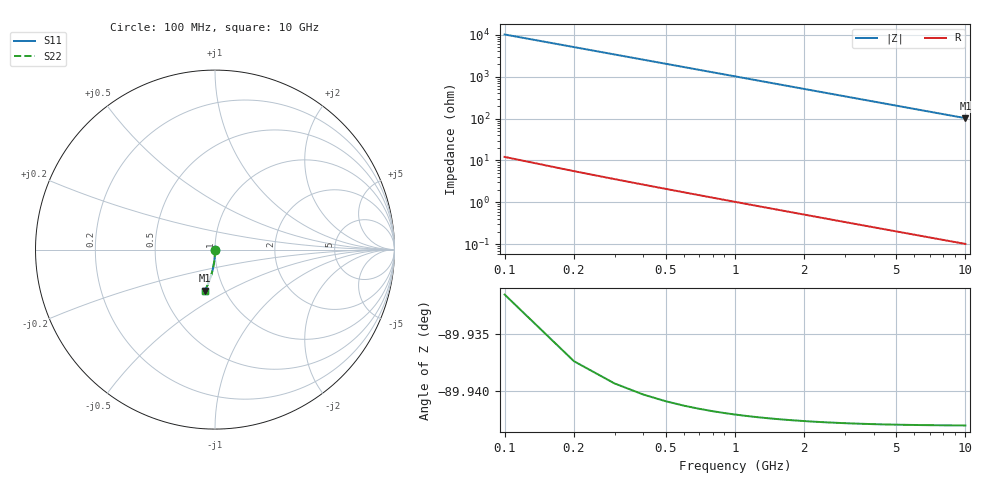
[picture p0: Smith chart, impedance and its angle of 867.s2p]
# Hz S RI R 50.00
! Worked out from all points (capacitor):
!   100 points, 100 MHz to 10 GHz, reference 50 ohm
!   read as one part in shunt: C = 156 fF near 100 MHz
!   lowest |Z| = 102 ohm at 10 GHz (marker M1)
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1e8  -4.3e-06 -0.00244  1 -0.00247  1 -0.00247  -4.3e-06 -0.00244
2e8  -2.48e-05 -0.00487  1 -0.00494  1 -0.00494  -2.48e-05 -0.00487
3e8  -5.73e-05 -0.00731  0.9999 -0.00741  0.9999 -0.00741  -5.73e-05 -0.00731
4e8  -0.000102 -0.00975  0.9999 -0.00988  0.9999 -0.00988  -0.000102 -0.00975
5e8  -0.000158 -0.0122  0.9998 -0.0124  0.9998 -0.0124  -0.000158 -0.0122
6e8  -0.000227 -0.0146  0.9998 -0.0148  0.9998 -0.0148  -0.000227 -0.0146
7e8  -0.000308 -0.0171  0.9997 -0.0173  0.9997 -0.0173  -0.000308 -0.0171
8e8  -0.0004 -0.0195  0.9996 -0.0198  0.9996 -0.0198  -0.0004 -0.0195
9e8  -0.000505 -0.0219  0.9995 -0.0222  0.9995 -0.0222  -0.000505 -0.0219
1.1e9  -0.00075 -0.0268  0.9992 -0.0271  0.9992 -0.0271  -0.00075 -0.0268
1.4e9  -0.00121 -0.0341  0.9988 -0.0345  0.9988 -0.0345  -0.00121 -0.0341
1.8e9  -0.00198 -0.0438  0.998 -0.0444  0.998 -0.0444  -0.00198 -0.0438
2.1e9  -0.00269 -0.051  0.9973 -0.0517  0.9973 -0.0517  -0.00269 -0.051
2.5e9  -0.0038 -0.0606  0.9962 -0.0615  0.9962 -0.0615  -0.0038 -0.0606
2.9e9  -0.00509 -0.0702  0.9949 -0.0712  0.9949 -0.0712  -0.00509 -0.0702
3.4e9  -0.00697 -0.0821  0.993 -0.0833  0.993 -0.0833  -0.00697 -0.0821
4.2e9  -0.0106 -0.1011  0.9894 -0.1025  0.9894 -0.1025  -0.0106 -0.1011
5.1e9  -0.0155 -0.122  0.9845 -0.1238  0.9845 -0.1238  -0.0155 -0.122
5.9e9  -0.0205 -0.1403  0.9794 -0.1424  0.9794 -0.1424  -0.0205 -0.1403
6.7e9  -0.0263 -0.1583  0.9737 -0.1607  0.9737 -0.1607  -0.0263 -0.1583
8.4e9  -0.0406 -0.1954  0.9594 -0.1983  0.9594 -0.1983  -0.0406 -0.1954
1e10  -0.0564 -0.2285  0.9436 -0.2319  0.9436 -0.2319  -0.0564 -0.2285
